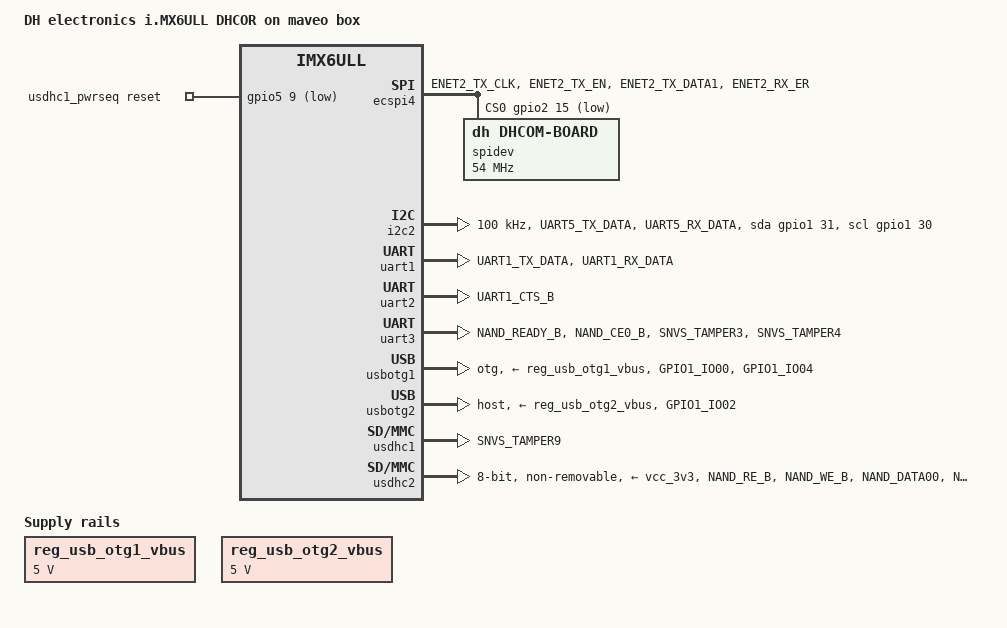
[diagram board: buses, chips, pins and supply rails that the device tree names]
// SPDX-License-Identifier: GPL-2.0-or-later OR MIT
/*
 * Copyright (C) 2023 DH electronics GmbH
 * Copyright (C) 2023 Marantec electronics GmbH
 *
 * DHCOM iMX6ULL variant:
 * DHCR-iMX6ULL-C080-R051-SPI-WBT-I-01LG
 * DHCOR PCB number: 578-200 or newer
 * maveo box PCB number: 525-200 or newer
 */

/dts-v1/;

#include "imx6ull-dhcor-som.dtsi"

/ {
	model = "DH electronics i.MX6ULL DHCOR on maveo box";
	compatible = "marantec,imx6ull-dhcor-maveo-box", "dh,imx6ull-dhcor-som",
		     "fsl,imx6ull";

	aliases {
		mmc2 = &usdhc2;
		spi0 = &ecspi4;
		spi3 = &ecspi1;
	};

	chosen {
		stdout-path = "serial0:115200n8";
	};

	reg_usb_otg1_vbus: regulator-usb-otg1-vbus {
		compatible = "regulator-fixed";
		regulator-max-microvolt = <5000000>;
		regulator-min-microvolt = <5000000>;
		regulator-name = "usb-otg1-vbus";
	};

	reg_usb_otg2_vbus: regulator-usb-otg2-vbus {
		compatible = "regulator-fixed";
		regulator-max-microvolt = <5000000>;
		regulator-min-microvolt = <5000000>;
		regulator-name = "usb-otg2-vbus";
	};

	/* WiFi pin WL_REG_ON is connected to GPIO 5.9 */
	usdhc1_pwrseq: usdhc1-pwrseq {
		compatible = "mmc-pwrseq-simple";
		reset-gpios = <&gpio5 9 GPIO_ACTIVE_LOW>;
	};
};

/* BT pin BT_REG_ON is connected to GPIO 1.18 */
&bluetooth {
	shutdown-gpios = <&gpio1 18 GPIO_ACTIVE_HIGH>;
};

/* X10 connector */
&ecspi4 {
	cs-gpios = <&gpio2 15 GPIO_ACTIVE_LOW>;
	pinctrl-0 = <&pinctrl_ecspi4>;
	pinctrl-names = "default";
	status = "okay";

	spidev@0 {
		compatible = "dh,dhcom-board";
		reg = <0>;
		spi-cpha;
		spi-cpol;
		spi-max-frequency = <54000000>;
	};
};

&gpio1 {
	gpio-line-names =
		"", "", "", "",
		"", "BUTTON-USER", "", "",
		"BUTTON-RESET", "", "", "",
		"", "", "", "",
		"", "", "BT-REG-ON", "",
		"", "", "", "",
		"", "", "", "",
		"", "", "", "";
};

&gpio2 {
	gpio-line-names =
		"PSOC-GPIO-1", "", "", "X10-12",
		"X10-10", "PSOC-GPIO-2", "PSOC-GPIO-3", "",
		"X10-11", "X10-9", "", "",
		"", "", "", "",
		"", "", "", "",
		"", "", "", "",
		"", "", "", "",
		"", "", "", "";
};

&gpio3 {
	gpio-line-names =
		"DHCOR-HW0", "DHCOR-HW1", "", "",
		"", "", "", "",
		"", "", "", "",
		"", "", "", "",
		"", "", "", "",
		"", "", "", "",
		"", "", "", "",
		"", "", "", "";
};

&gpio4 {
	gpio-line-names =
		"", "", "", "",
		"", "", "", "",
		"", "", "", "",
		"", "", "", "",
		"", "MAVEO-BOX-HW0", "LED-G", "MAVEO-BOX-VAR1",
		"MAVEO-BOX-VAR0", "MAVEO-BOX-HW1", "MAVEO-BOX-HW2", "LED-B",
		"LED-R", "", "", "",
		"", "", "", "";
};

&gpio5 {
	gpio-line-names =
		"PSOC-SWD-IO", "PSOC-SWD-CLK", "PSOC-RESET", "ZIGBEE-PROG",
		"ZIGBEE-RESET", "", "PSOC-PWR-FAIL-OUT", "NFC-ENABLE",
		"NFC-IRQ", "WL-REG-ON", "DHCOR-BOOT-M0", "DHCOR-BOOT-M1",
		"", "", "", "",
		"", "", "", "",
		"", "", "", "",
		"", "", "", "",
		"", "", "", "";
};

&i2c2 {
	clock-frequency = <100000>;
	pinctrl-0 = <&pinctrl_i2c2>;
	pinctrl-1 = <&pinctrl_i2c2_gpio>;
	pinctrl-names = "default", "gpio";
	scl-gpios = <&gpio1 30 (GPIO_ACTIVE_HIGH | GPIO_OPEN_DRAIN)>;
	sda-gpios = <&gpio1 31 (GPIO_ACTIVE_HIGH | GPIO_OPEN_DRAIN)>;
	status = "okay";
};

/* Console UART */
&uart1 {
	pinctrl-0 = <&pinctrl_uart1>;
	pinctrl-names = "default";
	status = "okay";
};

/* BT on LGA */
&uart2 {
	pinctrl-0 = <&pinctrl_uart2 &pinctrl_bt_gpio>;
};

/* Zigbee UART */
&uart3 {
	pinctrl-0 = <&pinctrl_uart3 &pinctrl_snvs_zigbee_gpio>;
	pinctrl-names = "default";
	status = "okay";
};

&usbotg1 {
	adp-disable;
	disable-over-current; /* Overcurrent pin isn't connected */
	dr_mode = "otg";
	hnp-disable;
	pinctrl-0 = <&pinctrl_usbotg1>;
	pinctrl-names = "default";
	srp-disable;
	vbus-supply = <&reg_usb_otg1_vbus>;
	status = "okay";
};

&usbotg2 {
	disable-over-current; /* Overcurrent pin isn't connected */
	dr_mode = "host";
	pinctrl-0 = <&pinctrl_usbotg2>;
	pinctrl-names = "default";
	tpl-support;
	vbus-supply = <&reg_usb_otg2_vbus>;
	status = "okay";
};

&usbphy1 {
	fsl,tx-d-cal = <106>;
};

&usbphy2 {
	fsl,tx-d-cal = <106>;
};

/* WiFi on LGA */
&usdhc1 {
	mmc-pwrseq = <&usdhc1_pwrseq>;
	pinctrl-0 = <&pinctrl_usdhc1_wifi &pinctrl_snvs_wifi_gpio>;
};

/* eMMC */
&usdhc2 {
	bus-width = <8>;
	no-1-8-v;
	non-removable;
	pinctrl-0 = <&pinctrl_usdhc2>;
	pinctrl-names = "default";
	vmmc-supply = <&vcc_3v3>;
	vqmmc-supply = <&vcc_3v3>;
	status = "okay";
};

&iomuxc {
	pinctrl-0 = <&pinctrl_hog_maveo_box>;
	pinctrl-names = "default";

	pinctrl_hog_maveo_box: hog-maveo-box-grp {
		fsl,pins = <
			MX6UL_PAD_GPIO1_IO05__GPIO1_IO05	0x120b0    /* BUTTON_USER */
			MX6UL_PAD_GPIO1_IO08__GPIO1_IO08	0x120b0    /* BUTTON_RESET */
			MX6UL_PAD_CSI_PIXCLK__GPIO4_IO18	0x400120b0 /* LED_G */
			MX6UL_PAD_CSI_DATA02__GPIO4_IO23	0x400120b0 /* LED_B */
			MX6UL_PAD_CSI_DATA03__GPIO4_IO24	0x400120b0 /* LED_R */
			MX6UL_PAD_ENET2_RX_DATA1__GPIO2_IO09	0x400120b0 /* X10_9 */
			MX6UL_PAD_ENET1_TX_DATA1__GPIO2_IO04	0x400120b0 /* X10_10 */
			MX6UL_PAD_ENET2_RX_DATA0__GPIO2_IO08	0x400120b0 /* X10_11 */
			MX6UL_PAD_ENET1_TX_DATA0__GPIO2_IO03	0x400120b0 /* X10_12 */
			MX6UL_PAD_ENET1_RX_DATA0__GPIO2_IO00	0x400120b0 /* PSOC_GPIO_1 */
			MX6UL_PAD_ENET1_TX_EN__GPIO2_IO05	0x400120b0 /* PSOC_GPIO_2 */
			MX6UL_PAD_ENET1_TX_CLK__GPIO2_IO06	0x400120b0 /* PSOC_GPIO_3 */
			MX6UL_PAD_CSI_MCLK__GPIO4_IO17		0x120b0    /* MAVEO_BOX_HW0 */
			MX6UL_PAD_CSI_DATA00__GPIO4_IO21	0x120b0    /* MAVEO_BOX_HW1 */
			MX6UL_PAD_CSI_DATA01__GPIO4_IO22	0x120b0    /* MAVEO_BOX_HW2 */
			MX6UL_PAD_CSI_HSYNC__GPIO4_IO20		0x120b0    /* MAVEO_BOX_VAR0 */
			MX6UL_PAD_CSI_VSYNC__GPIO4_IO19		0x120b0    /* MAVEO_BOX_VAR1 */
			MX6UL_PAD_LCD_CLK__GPIO3_IO00		0x120b0    /* DHCOR_HW0 */
			MX6UL_PAD_LCD_ENABLE__GPIO3_IO01	0x120b0    /* DHCOR_HW1 */
			MX6UL_PAD_LCD_DATA00__GPIO3_IO05	0x120b0
			MX6UL_PAD_LCD_DATA01__GPIO3_IO06	0x120b0
			MX6UL_PAD_LCD_DATA02__GPIO3_IO07	0x120b0
			MX6UL_PAD_LCD_DATA03__GPIO3_IO08	0x120b0
			MX6UL_PAD_LCD_DATA04__GPIO3_IO09	0x120b0
			MX6UL_PAD_LCD_DATA05__GPIO3_IO10	0x120b0
			MX6UL_PAD_LCD_DATA06__GPIO3_IO11	0x120b0
			MX6UL_PAD_LCD_DATA07__GPIO3_IO12	0x120b0
			MX6UL_PAD_LCD_DATA08__GPIO3_IO13	0x120b0
			MX6UL_PAD_LCD_DATA09__GPIO3_IO14	0x120b0
			MX6UL_PAD_LCD_DATA10__GPIO3_IO15	0x120b0
			MX6UL_PAD_LCD_DATA11__GPIO3_IO16	0x120b0
			MX6UL_PAD_LCD_DATA12__GPIO3_IO17	0x120b0
			MX6UL_PAD_LCD_DATA13__GPIO3_IO18	0x120b0
			MX6UL_PAD_LCD_DATA14__GPIO3_IO19	0x120b0
			MX6UL_PAD_LCD_DATA15__GPIO3_IO20	0x120b0
			MX6UL_PAD_LCD_DATA16__GPIO3_IO21	0x120b0
			MX6UL_PAD_LCD_DATA17__GPIO3_IO22	0x120b0
			MX6UL_PAD_LCD_DATA18__GPIO3_IO23	0x120b0
		>;
	};

	pinctrl_bt_gpio: bt-gpio-grp {
		fsl,pins = <
			MX6UL_PAD_UART1_CTS_B__GPIO1_IO18	0x400120b0 /* BT_REG_ON */
		>;
	};

	pinctrl_ecspi4: ecspi4-grp {
		fsl,pins = <
			MX6UL_PAD_ENET2_TX_CLK__ECSPI4_MISO	0x100b1
			MX6UL_PAD_ENET2_TX_EN__ECSPI4_MOSI	0x100b1
			MX6UL_PAD_ENET2_TX_DATA1__ECSPI4_SCLK	0x100b1
			MX6UL_PAD_ENET2_RX_ER__GPIO2_IO15	0x1b0b0 /* SS0 */
		>;
	};

	pinctrl_i2c2: i2c2-grp {
		fsl,pins = <
			MX6UL_PAD_UART5_TX_DATA__I2C2_SCL	0x4001b8b0
			MX6UL_PAD_UART5_RX_DATA__I2C2_SDA	0x4001b8b0
		>;
	};

	pinctrl_i2c2_gpio: i2c2-gpio-grp {
		fsl,pins = <
			MX6UL_PAD_UART5_TX_DATA__GPIO1_IO30	0x4001b8b0
			MX6UL_PAD_UART5_RX_DATA__GPIO1_IO31	0x4001b8b0
		>;
	};

	pinctrl_uart1: uart1-grp {
		fsl,pins = <
			MX6UL_PAD_UART1_TX_DATA__UART1_DCE_TX	0x1b0b1
			MX6UL_PAD_UART1_RX_DATA__UART1_DCE_RX	0x1b0b1
		>;
	};

	pinctrl_uart3: uart3-grp {
		fsl,pins = <
			MX6UL_PAD_NAND_READY_B__UART3_DCE_TX	0x1b0b1
			MX6UL_PAD_NAND_CE0_B__UART3_DCE_RX	0x1b0b1
		>;
	};

	pinctrl_usbotg1: usbotg1-grp {
		fsl,pins = <
			MX6UL_PAD_GPIO1_IO00__ANATOP_OTG1_ID	0x17059
			MX6UL_PAD_GPIO1_IO04__GPIO1_IO04	0x120b0 /* USB_OTG1_PWR */
		>;
	};

	pinctrl_usbotg2: usbotg2-grp {
		fsl,pins = <
			MX6UL_PAD_GPIO1_IO02__GPIO1_IO02	0x120b0 /* USB_OTG2_PWR */
		>;
	};

	pinctrl_usdhc2: usdhc2-grp {
		fsl,pins = <
			MX6UL_PAD_NAND_RE_B__USDHC2_CLK		0x10069
			MX6UL_PAD_NAND_WE_B__USDHC2_CMD		0x17059
			MX6UL_PAD_NAND_DATA00__USDHC2_DATA0	0x17059
			MX6UL_PAD_NAND_DATA01__USDHC2_DATA1	0x17059
			MX6UL_PAD_NAND_DATA02__USDHC2_DATA2	0x17059
			MX6UL_PAD_NAND_DATA03__USDHC2_DATA3	0x17059
			MX6UL_PAD_NAND_DATA04__USDHC2_DATA4	0x17059
			MX6UL_PAD_NAND_DATA05__USDHC2_DATA5	0x17059
			MX6UL_PAD_NAND_DATA06__USDHC2_DATA6	0x17059
			MX6UL_PAD_NAND_DATA07__USDHC2_DATA7	0x17059
			MX6UL_PAD_NAND_ALE__USDHC2_RESET_B	0x17059 /* SD2 Reset */
		>;
	};
};

&iomuxc_snvs {
	pinctrl-0 = <&pinctrl_snvs_hog_maveo_box>;
	pinctrl-names = "default";

	pinctrl_snvs_hog_maveo_box: snvs-hog-maveo-box-grp {
		fsl,pins = <
			MX6ULL_PAD_SNVS_TAMPER0__GPIO5_IO00	0x400120b0 /* PSOC_SWD_IO */
			MX6ULL_PAD_SNVS_TAMPER1__GPIO5_IO01	0x400120b0 /* PSOC_SWD_CLK */
			MX6ULL_PAD_SNVS_TAMPER2__GPIO5_IO02	0x400120b0 /* PSOC_RESET */
			MX6ULL_PAD_SNVS_TAMPER6__GPIO5_IO06	0x400120b0 /* PSOC_PWR_FAIL_OUT */
			MX6ULL_PAD_SNVS_TAMPER7__GPIO5_IO07	0x400120b0 /* NFC_ENABLE */
			MX6ULL_PAD_SNVS_TAMPER8__GPIO5_IO08	0x400120b0 /* NFC_IRQ */
			MX6ULL_PAD_BOOT_MODE0__GPIO5_IO10	0x120b0    /* DHCOR_BOOT_M0 */
			MX6ULL_PAD_BOOT_MODE1__GPIO5_IO11	0x120b0    /* DHCOR_BOOT_M1 */
		>;
	};

	pinctrl_snvs_wifi_gpio: snvs-wifi-gpio-grp {
		fsl,pins = <
			MX6ULL_PAD_SNVS_TAMPER9__GPIO5_IO09	0x400120b0 /* WL_REG_ON */
		>;
	};

	pinctrl_snvs_zigbee_gpio: snvs-zigbee-gpio-grp {
		fsl,pins = <
			MX6ULL_PAD_SNVS_TAMPER3__GPIO5_IO03	0x400120b0 /* ZIGBEE_PROG */
			MX6ULL_PAD_SNVS_TAMPER4__GPIO5_IO04	0x400120b0 /* ZIGBEE_RESET */
		>;
	};
};
